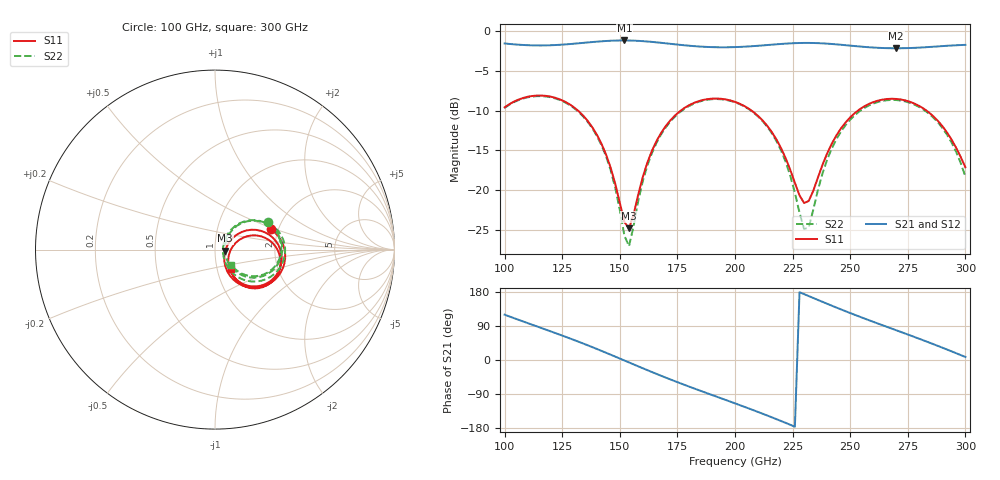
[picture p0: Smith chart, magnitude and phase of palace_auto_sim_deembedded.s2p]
! Created with skrf 1.11.0 (http://scikit-rf.org).
# GHz S DB R 50.0
!freq dBS11 angS11 dBS21 angS21 dBS12 angS12 dBS22 angS22
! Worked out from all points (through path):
!   101 points, 100 GHz to 300 GHz, reference 50 ohm
!   highest |S21| = -1.15 dB at 152 GHz (marker M1); lowest = -2.1 dB at 270 GHz (marker M2)
!   group delay of S21, straight-line fit = 6.59 ps
!   lowest |S11| = -24.8 dB at 154 GHz (marker M3), VSWR 1.12, Z = 56.1 - j0.76 ohm
!   |S11| at or under -10 dB: 131.9 GHz to 176.4 GHz (44.48 GHz wide, 28.9 % of centre); 207.2 GHz to 253.3 GHz (46.08 GHz wide, 20 % of centre); 283.2 GHz to end of sweep
!   |S22| runs from -27.1 to -8.2 dB; largest |S21 - S12| = 9.8e-14
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100  -9.57 19.7  -1.53 119.6  -1.53 119.6  -9.64 27.3
118  -8.13 -15.2  -1.77 80.0  -1.77 80.0  -8.21 -6.9
134  -10.59 -45.9  -1.46 43.7  -1.46 43.7  -10.69 -37.5
144  -15.49 -60.2  -1.22 19.2  -1.22 19.2  -15.72 -53.1
148  -19.17 -58.4  -1.17 9.0  -1.17 9.0  -19.67 -53.1
152  -24.01 -34.4  -1.15 -1.3  -1.15 -1.3  -25.73 -29.4
154  -24.80 -6.7  -1.16 -6.4  -1.16 -6.4  -27.05 6.1
160  -18.32 33.5  -1.24 -21.8  -1.24 -21.8  -18.84 50.9
168  -12.76 28.7  -1.45 -41.8  -1.45 -41.8  -12.95 44.1
184  -8.81 0.7  -1.90 -79.0  -1.90 -79.0  -8.90 15.2
200  -8.88 -27.9  -1.99 -114.4  -1.99 -114.4  -8.93 -14.1
218  -13.62 -54.3  -1.64 -156.1  -1.64 -156.1  -13.83 -44.0
224  -17.46 -53.0  -1.52 -171.0  -1.52 -171.0  -18.20 -46.6
230  -21.62 -21.8  -1.46 173.8  -1.46 173.8  -24.90 -11.5
234  -20.06 9.7  -1.47 163.6  -1.47 163.6  -22.44 36.4
240  -15.38 23.0  -1.55 148.4  -1.55 148.4  -16.16 48.5
248  -11.47 16.1  -1.75 128.7  -1.75 128.7  -11.81 38.8
258  -9.16 -0.1  -2.00 105.3  -2.00 105.3  -9.36 20.9
268  -8.49 -17.6  -2.13 82.9  -2.13 82.9  -8.64 2.2
270  -8.51 -21.1  -2.14 78.4  -2.14 78.4  -8.65 -1.5
288  -11.26 -49.8  -1.90 37.3  -1.90 37.3  -11.45 -33.7
300  -17.12 -50.8  -1.71 8.0  -1.71 8.0  -18.29 -43.0
